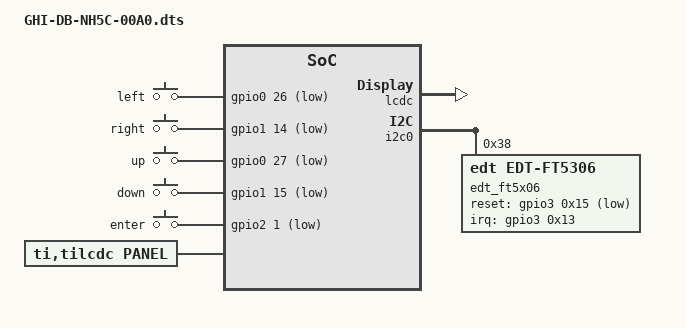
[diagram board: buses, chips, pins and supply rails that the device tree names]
/*
 * Copyright (C) 2012 Texas Instruments Incorporated - http://www.ti.com/
 * Copyright (C) 2016 GHI Electronics, LLC - http://www.ghielectronics.com/ 
 *
 * This program is free software; you can redistribute it and/or modify
 * it under the terms of the GNU General Public License version 2 as
 * published by the Free Software Foundation.
 */
 
/dts-v1/;
/plugin/;

#include <dt-bindings/board/am335x-bbw-bbb-base.h>
#include <dt-bindings/gpio/gpio.h>
#include <dt-bindings/pinctrl/am33xx.h>

/ {
	compatible = "ti,beaglebone", "ti,beaglebone-black", "ti,beaglebone-green";

	part-number = "GHI-DB-NH5C";
	version = "00A0";

	exclusive-use =
		"P8.45",	/* lcd: lcd_data0 */
		"P8.46",	/* lcd: lcd_data1 */
		"P8.43",	/* lcd: lcd_data2 */
		"P8.44",	/* lcd: lcd_data3 */
		"P8.41",	/* lcd: lcd_data4 */
		"P8.42",	/* lcd: lcd_data5 */
		"P8.39",	/* lcd: lcd_data6 */
		"P8.40",	/* lcd: lcd_data7 */
		"P8.37",	/* lcd: lcd_data8 */
		"P8.38",	/* lcd: lcd_data9 */
		"P8.36",	/* lcd: lcd_data10 */
		"P8.34",	/* lcd: lcd_data11 */
		"P8.35",	/* lcd: lcd_data12 */
		"P8.33",	/* lcd: lcd_data13 */
		"P8.31",	/* lcd: lcd_data14 */
		"P8.32",	/* lcd: lcd_data15 */
		"P8.27",	/* lcd: lcd_vsync */
		"P8.29",	/* lcd: lcd_hsync */
		"P8.28",	/* lcd: lcd_pclk */
		"P8.30",	/* lcd: lcd_ac_bias_en */
		"gpio0_27", /* key */
		"gpio1_15", /* key */
		"gpio0_26", /* key */
		"gpio1_14", /* key */
		"gpio2_1", /* key */
		"gpio3_21",  /* touch */
		"gpio3_19",  /* touch */		
		"lcd";

	fragment@0 {
		target = <&am33xx_pinmux>;
		
		__overlay__ {
			ghi_lcd_pins: pinmux_ghi_lcd_pins {
				pinctrl-single,pins = <
					BONE_P8_45 (PIN_OUTPUT | MUX_MODE0) /* lcd_data0.lcd_data0 */
					BONE_P8_46 (PIN_OUTPUT | MUX_MODE0) /* lcd_data1.lcd_data1 */
					BONE_P8_43 (PIN_OUTPUT | MUX_MODE0) /* lcd_data2.lcd_data2 */
					BONE_P8_44 (PIN_OUTPUT | MUX_MODE0) /* lcd_data3.lcd_data3 */
					BONE_P8_41 (PIN_OUTPUT | MUX_MODE0) /* lcd_data4.lcd_data4 */
					BONE_P8_42 (PIN_OUTPUT | MUX_MODE0) /* lcd_data5.lcd_data5 */
					BONE_P8_39 (PIN_OUTPUT | MUX_MODE0) /* lcd_data6.lcd_data6 */
					BONE_P8_40 (PIN_OUTPUT | MUX_MODE0) /* lcd_data7.lcd_data7 */
					BONE_P8_37 (PIN_OUTPUT | MUX_MODE0) /* lcd_data8.lcd_data8 */
					BONE_P8_38 (PIN_OUTPUT | MUX_MODE0) /* lcd_data9.lcd_data9 */
					BONE_P8_36 (PIN_OUTPUT | MUX_MODE0) /* lcd_data10.lcd_data10 */
					BONE_P8_34 (PIN_OUTPUT | MUX_MODE0) /* lcd_data11.lcd_data11 */
					BONE_P8_35 (PIN_OUTPUT | MUX_MODE0) /* lcd_data12.lcd_data12 */
					BONE_P8_33 (PIN_OUTPUT | MUX_MODE0) /* lcd_data13.lcd_data13 */
					BONE_P8_31 (PIN_OUTPUT | MUX_MODE0) /* lcd_data14.lcd_data14 */
					BONE_P8_32 (PIN_OUTPUT | MUX_MODE0) /* lcd_data15.lcd_data15 */
					BONE_P8_27 (PIN_OUTPUT | MUX_MODE0) /* lcd_vsync.lcd_vsync */
					BONE_P8_29 (PIN_OUTPUT | MUX_MODE0) /* lcd_hsync.lcd_hsync */
					BONE_P8_28 (PIN_OUTPUT | MUX_MODE0) /* lcd_pclk.lcd_pclk */
					BONE_P8_30 (PIN_OUTPUT | MUX_MODE0) /* lcd_ac_bias_en.lcd_ac_bias_en */
				>;
			};

			bb_lcd_keymap_pins: pinmux_bb_lcd_keymap_pins {
				pinctrl-single,pins = <
					0x2c (PIN_INPUT | MUX_MODE7) /* 0[27] - up    */
					0x3c (PIN_INPUT | MUX_MODE7) /* 1[15] - down  */
					0x28 (PIN_INPUT | MUX_MODE7) /* 0[26] - left  */
					0x38 (PIN_INPUT | MUX_MODE7) /* 1[14] - right */
					0x8c (PIN_INPUT | MUX_MODE7) /* 2[1] - center */
				>;
			};
			
			edt_ft5x06_pins:pinmux_edt_ft5x06_pins {
			   pinctrl-single,pins = <0x1AC 0x17 0x1A4 0x37>;
			};
		};
	};
	
	fragment@1 {
		target = <&lcdc>;
		
		__overlay__ {
			status = "okay";
		};
	};
	
	fragment@2 {
		target-path="/";
		
		__overlay__ {
			#address-cells = <1>;
			#size-cells = <1>;
			
			gpio_keys {
				compatible = "gpio-keys";
				pinctrl-names = "default";
				pinctrl-0 = <&bb_lcd_keymap_pins>;

				#address-cells = <1>;
				#size-cells = <0>;

				button@1 {
					debounce_interval = <50>;
					linux,code = <105>;
					label = "left";
					gpios = <&gpio0 26 0x1>;
					gpio-key,wakeup;
					autorepeat;
				};
				
				button@2 {
					debounce_interval = <50>;
					linux,code = <106>;
					label = "right";
					gpios = <&gpio1 14 0x1>;
					gpio-key,wakeup;
					autorepeat;
				};
				
				button@3 {
					debounce_interval = <50>;
					linux,code = <103>;
					label = "up";
					gpios = <&gpio0 27 0x1>;
					gpio-key,wakeup;
					autorepeat;
				};
				
				button@4 {
					debounce_interval = <50>;
					linux,code = <108>;
					label = "down";
					gpios = <&gpio1 15 0x1>;
					gpio-key,wakeup;
					autorepeat;
				};
				
				button@5 {
					debounce_interval = <50>;
					linux,code = <28>;
					label = "enter";
					gpios = <&gpio2 1 0x1>;
					gpio-key,wakeup;
				};
			};


			panel {
				status = "okay";
				compatible = "ti,tilcdc,panel";
				pinctrl-names = "default";
				pinctrl-0 = <&ghi_lcd_pins>;
				
				panel-info {
					ac-bias           = <255>;
					ac-bias-intrpt    = <0>;
					dma-burst-sz      = <16>;
					bpp               = <16>;
					fdd               = <0x80>;
					tft-alt-mode      = <0>;
					stn-565-mode      = <0>;
					mono-8bit-mode    = <0>;
					sync-edge         = <0>;
					sync-ctrl         = <1>;
					raster-order      = <0>;
					fifo-th           = <0>;
				};
				
				display-timings {
					native-mode = <&timing0>;
					
					timing0: 800x480 {
						clock-frequency = <30000000>;
						hactive = <800>;
						vactive = <480>;
						hfront-porch = <40>;
						hback-porch = <39>;
						hsync-len = <48>;
						vback-porch = <36>;
						vfront-porch = <13>;
						vsync-len = <3>;
						hsync-active = <0>;
						vsync-active  = <0>;
					};
				};
			};
		};
	};
	
	fragment@3 {
		target = <&i2c0>; 
		
		__overlay__ {
			#address-cells = <1>;
			#size-cells = <0>;
			
			edt_ft5x06@38 {
				status =  "okay";
				compatible = "edt,edt-ft5306","edt,edt-ft5406","edt,edt-ft5206","edt,edt-ft5x06";
				pinctrl-names="default";
				pinctrl-0=<&edt_ft5x06_pins>;
				reg = <0x38>;
				interrupt-parent = <&gpio3>;
				interrupts = <0x13 0x2>;                      
				reset-gpios = <&gpio3 0x15 1>;
				touchscreen-size-x = <800>;
				touchscreen-size-y = <480>;
			};
		};
	}; 
};
